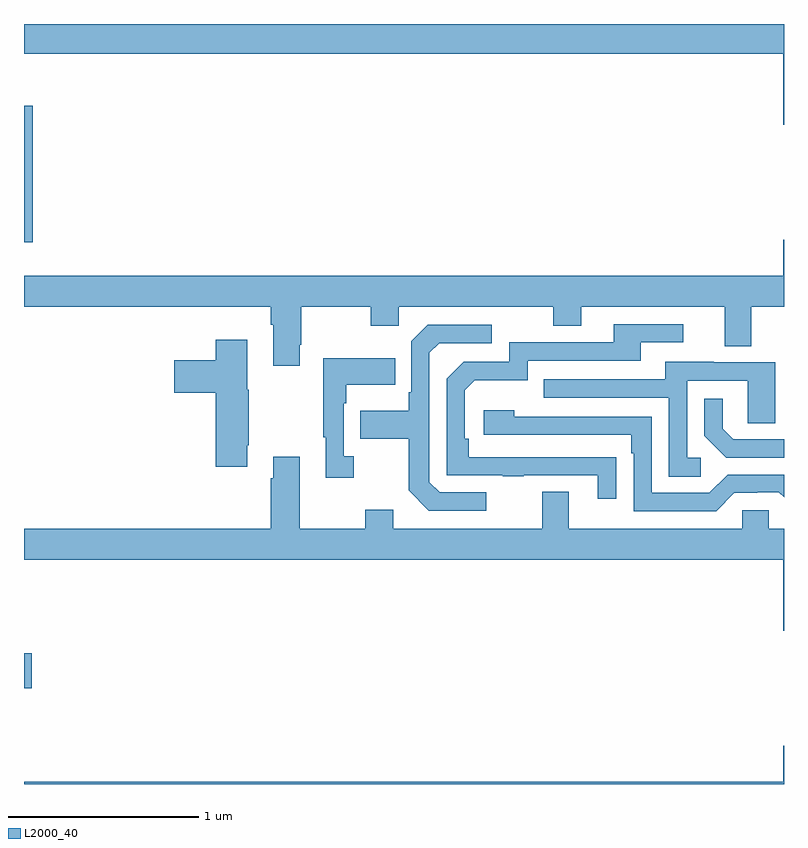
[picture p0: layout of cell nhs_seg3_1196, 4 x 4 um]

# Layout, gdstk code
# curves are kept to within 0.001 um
import gdstk
lib = gdstk.Library(unit=1e-6, precision=1e-09)
def R(c, l, rs):  # rectangles x0, y0, x1, y1
    for r in rs: c.add(gdstk.rectangle(r[:2], r[2:], *l))
def P(c, l, *ps):  # polygons
    for p in ps: c.add(gdstk.Polygon(p, *l))
L2000_40 = (2000, 40)

nhs_seg3_1196 = lib.new_cell('nhs_seg3_1196')
R(nhs_seg3_1196, L2000_40, [(173,702.905,173.041,703.088), (173,705.252,173.045,705.97)])
P(nhs_seg3_1196, L2000_40, [(177,706.4),(173,706.4),(173,706.244),(176.996,706.244),(176.996,705.87),(177,705.87)],
  [(174.451,704.713),(174.459,704.713),(174.459,704.912),(174.826,704.912),(174.826,704.813),(174.972,704.813),(174.972,704.912),(175.786,704.912),(175.786,704.813),(175.933,704.813),(175.933,704.912),(176.687,704.912),(176.687,704.704),(176.827,704.704),(176.827,704.912),(177,704.912),(177,705.265),(176.996,705.265),(176.996,705.076),(173,705.076),(173,704.912),(174.299,704.912),(174.299,704.816),(174.311,704.816),(174.311,704.601),(174.451,704.601)],
  [(176.117,704.12),(175.34,704.121),(175.34,704.218),(175.32,704.218),(175.32,704.472),(175.373,704.525),(175.65,704.525),(175.65,704.628),(176.245,704.628),(176.245,704.724),(176.47,704.724),(176.47,704.82),(176.105,704.82),(176.105,704.724),(175.554,704.724),(175.554,704.622),(175.314,704.622),(175.224,704.532),(175.224,704.025),(175.519,704.025),(175.519,704.02),(175.631,704.02),(175.631,704.025),(176.021,704.025),(176.021,703.902),(176.117,703.902)],
  [(175.432,703.935),(175.188,703.935),(175.134,703.989),(175.134,704.67),(175.185,704.721),(175.462,704.721),(175.462,704.817),(175.125,704.817),(175.038,704.73),(175.038,704.461),(175.026,704.461),(175.026,704.365),(174.769,704.365),(174.769,704.218),(175.026,704.218),(175.026,703.945),(175.131,703.839),(175.432,703.839)],
  [(174.175,704.182),(174.183,704.182),(174.183,704.475),(174.175,704.475),(174.175,704.737),(174.008,704.737),(174.008,704.629),(173.79,704.629),(173.79,704.459),(174.008,704.459),(174.008,704.07),(174.175,704.07)],
  [(174.736,704.126),(174.684,704.126),(174.684,704.405),(174.697,704.405),(174.697,704.501),(174.953,704.501),(174.953,704.641),(174.576,704.641),(174.576,704.225),(174.587,704.225),(174.587,704.013),(174.736,704.013)],
  [(176.563,704.118),(176.49,704.118),(176.49,704.523),(176.808,704.523),(176.808,704.299),(176.953,704.299),(176.953,704.619),(176.629,704.619),(176.629,704.623),(176.375,704.623),(176.375,704.529),(175.735,704.529),(175.735,704.433),(176.394,704.433),(176.394,704.017),(176.563,704.017)],
  [(177,704.214),(176.734,704.214),(176.677,704.271),(176.677,704.428),(176.58,704.428),(176.58,704.234),(176.696,704.118),(177,704.118)],
  [(176.739,703.932),(176.858,703.932),(176.858,703.935),(176.973,703.935),(177,703.908),(177,704.028),(176.703,704.028),(176.607,703.932),(176.304,703.932),(176.304,704.334),(175.58,704.334),(175.58,704.368),(175.419,704.368),(175.419,704.238),(176.195,704.238),(176.195,704.141),(176.208,704.141),(176.208,703.836),(176.643,703.836)],
  [(177,703.744),(176.919,703.744),(176.919,703.842),(176.781,703.842),(176.781,703.744),(175.867,703.744),(175.867,703.939),(175.727,703.939),(175.727,703.744),(174.943,703.744),(174.943,703.843),(174.796,703.843),(174.796,703.744),(174.451,703.744),(174.451,704.122),(174.311,704.122),(174.311,704.009),(174.299,704.009),(174.299,703.744),(173,703.744),(173,703.58),(176.996,703.58),(176.996,703.206),(177,703.206)],
  [(177,702.601),(176.996,702.601),(176.996,702.412),(173,702.412),(173,702.4),(177,702.4)])

lib.write_gds('nhs_seg3_1196.gds')
